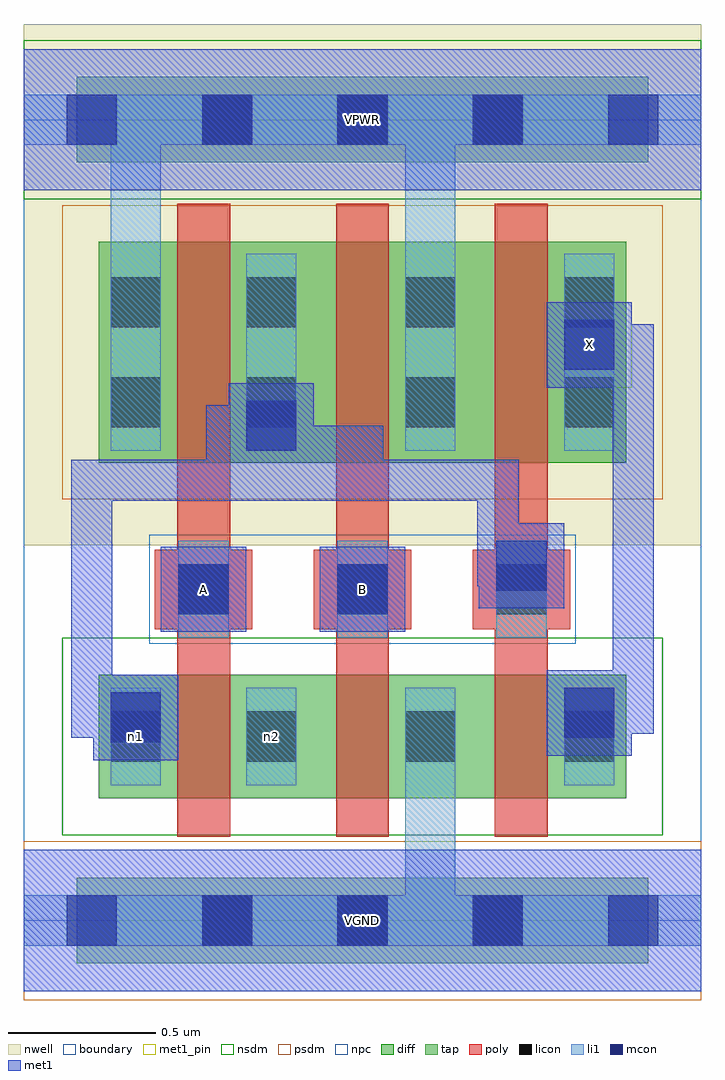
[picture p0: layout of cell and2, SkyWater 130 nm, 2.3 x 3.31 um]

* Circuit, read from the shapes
.subckt and2 A B VGND VPWR X n1 n2
XM1 n2 A n1 VGND sky130_fd_pr__nfet_01v8 w=0.42 l=0.18
XM2 VGND B n2 VGND sky130_fd_pr__nfet_01v8 w=0.42 l=0.18
XM3 X n1 VGND VGND sky130_fd_pr__nfet_01v8 w=0.42 l=0.18
XM4 n1 A VPWR VPWR sky130_fd_pr__pfet_01v8 w=0.75 l=0.18
XM5 VPWR B n1 VPWR sky130_fd_pr__pfet_01v8 w=0.75 l=0.18
XM6 X n1 VPWR VPWR sky130_fd_pr__pfet_01v8 w=0.75 l=0.18
.ends

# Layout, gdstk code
import gdstk
lib = gdstk.Library(unit=1e-6, precision=1e-09)
def R(c, l, rs):  # rectangles x0, y0, x1, y1
    for r in rs: c.add(gdstk.rectangle(r[:2], r[2:], *l))
def A(c, l, x, y, w, h, nx, ny, dx, dy):  # array of equal rectangles
    R(c, l, [(x+i*dx, y+j*dy, x+i*dx+w, y+j*dy+h) for i in range(nx) for j in range(ny)])
nwell = (64, 20)
diff = (65, 20)
tap = (65, 44)
poly = (66, 20)
licon = (66, 44)
li1 = (67, 20)
mcon = (67, 44)
met1_pin = (68, 16)
met1 = (68, 20)
nsdm = (93, 44)
psdm = (94, 20)
npc = (95, 20)
boundary = (235, 4)

and2 = lib.new_cell('and2')
R(and2, nwell, [(0,1.275,2.3,3.045)])
R(and2, diff, [(0.255,0.415,2.045,0.835), (0.255,1.555,2.045,2.305)])
R(and2, tap, [(0.18,-0.145,2.12,0.145), (0.18,2.575,2.12,2.865)])
A(and2, poly, 0.52, 0.285, 0.18, 2.15, 3, 1, 0.54, 0)
A(and2, poly, 0.445, 0.99, 0.33, 0.27, 3, 1, 0.54, 0)
A(and2, licon, 0.605, -0.085, 0.17, 0.17, 3, 2, 0.46, 2.72)
A(and2, licon, 0.755, 0.54, 0.17, 0.17, 3, 2, 0.54, 1.135)
A(and2, licon, 0.525, 1.04, 0.17, 0.17, 3, 1, 0.54, 0)
A(and2, licon, 0.755, 2.015, 0.17, 0.17, 3, 1, 0.54, 0)
R(and2, licon, [(0.295,0.54,0.465,0.71), (0.295,1.675,0.465,1.845), (0.295,2.015,0.465,2.185)])
A(and2, li1, 0.755, 0.46, 0.17, 0.33, 3, 1, 0.54, 0)
A(and2, li1, 0.525, 0.96, 0.17, 0.33, 3, 1, 0.54, 0)
A(and2, li1, 0.755, 1.595, 0.17, 0.67, 3, 1, 0.54, 0)
R(and2, li1, [(0,-0.085,2.3,0.085), (1.295,-0.085,1.465,0.79), (0.295,0.46,0.465,0.79), (0.295,1.595,0.465,2.265), (0.295,1.595,0.465,2.805), (1.295,1.595,1.465,2.805), (0,2.635,2.3,2.805)])
A(and2, mcon, 0.145, -0.085, 0.17, 0.17, 5, 2, 0.46, 2.72)
R(and2, mcon, [(0.295,0.605,0.465,0.775), (1.835,0.62,2.005,0.79), (0.525,1.04,0.695,1.21), (1.065,1.04,1.235,1.21), (1.605,1.12,1.775,1.29), (0.755,1.595,0.925,1.765), (1.835,1.87,2.005,2.04)])
R(and2, met1_pin, [(0,-0.24,2.3,0.24), (0.465,0.98,0.755,1.27), (1.005,0.98,1.295,1.27), (1.775,1.81,2.065,2.1), (0,2.48,2.3,2.96)])
R(and2, met1, [(0,-0.24,2.3,0.24), (0.235,0.545,0.525,0.835), (1.775,0.56,2.065,0.85), (0.16,0.62,0.45,0.76), (0.16,0.62,0.3,1.565), (1.85,0.635,2.14,0.775), (2,0.635,2.14,0.875), (2,0.735,2.14,2.025), (0.465,0.98,0.755,1.27), (1.005,0.98,1.295,1.27), (1.545,1.06,1.835,1.35), (1.54,1.135,1.76,1.275), (1.54,1.135,1.68,1.45), (1.54,1.31,1.68,1.565), (0.16,1.425,0.76,1.565), (0.62,1.425,0.76,1.75), (0.62,1.425,1.105,1.565), (0.965,1.425,1.105,1.68), (1.08,1.425,1.68,1.565), (1.08,1.425,1.22,1.68), (0.695,1.535,0.985,1.825), (0.965,1.54,1.22,1.68), (0.62,1.565,0.91,1.61), (0.62,1.61,0.91,1.75), (1.775,1.81,2.065,2.1), (1.85,1.885,2.14,2.025), (0,2.48,2.3,2.96)])
R(and2, nsdm, [(0.13,0.29,2.17,0.96), (0,2.45,2.3,2.99)])
R(and2, psdm, [(0,-0.27,2.3,0.27), (0.13,1.43,2.17,2.43)])
R(and2, npc, [(0.425,0.94,1.875,1.31)])
R(and2, boundary, [(0,0,2.3,2.72)])
and2.add(gdstk.Label('n1', (0.38,0.625), layer=67, texttype=5))
and2.add(gdstk.Label('n2', (0.84,0.625), layer=67, texttype=5))
and2.add(gdstk.Label('A', (0.61,1.125), layer=68, texttype=5))
and2.add(gdstk.Label('B', (1.15,1.125), layer=68, texttype=5))
and2.add(gdstk.Label('X', (1.92,1.955), layer=68, texttype=5))
and2.add(gdstk.Label('VPWR', (1.15,2.72), layer=68, texttype=5))
and2.add(gdstk.Label('VGND', (1.15,0), layer=68, texttype=5))
and2.add(gdstk.Label('A', (0.61,1.125), layer=68, texttype=16))
and2.add(gdstk.Label('B', (1.15,1.125), layer=68, texttype=16))
and2.add(gdstk.Label('X', (1.92,1.955), layer=68, texttype=16))
and2.add(gdstk.Label('VPWR', (1.15,2.72), layer=68, texttype=16))
and2.add(gdstk.Label('VGND', (1.15,0), layer=68, texttype=16))

lib.write_gds('and2.gds')
